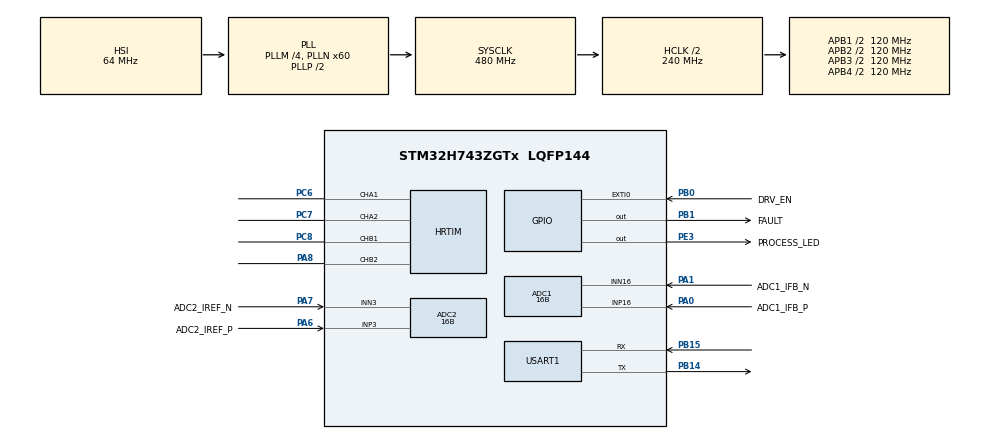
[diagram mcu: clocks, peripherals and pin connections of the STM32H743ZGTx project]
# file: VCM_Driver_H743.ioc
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ADC1.Channel-0\#ChannelRegularConversion=ADC_CHANNEL_16
ADC1.ClockPrescaler=ADC_CLOCK_ASYNC_DIV4
ADC1.ContinuousConvMode=DISABLE
ADC1.ConversionDataManagement=ADC_CONVERSIONDATA_DMA_CIRCULAR
ADC1.DiscontinuousConvMode=DISABLE
ADC1.EnableRegularConversion=ENABLE
ADC1.ExternalTrigConv=ADC_EXTERNALTRIG_HR1_ADCTRG1
ADC1.ExternalTrigConvEdge=ADC_EXTERNALTRIGCONVEDGE_RISING
ADC1.NbrOfConversion=1
ADC1.NbrOfConversionFlag=1
ADC1.OffsetNumber-0\#ChannelRegularConversion=ADC_OFFSET_NONE
ADC1.OffsetSignedSaturation-0\#ChannelRegularConversion=DISABLE
ADC1.Overrun=ADC_OVR_DATA_OVERWRITTEN
ADC1.Rank-0\#ChannelRegularConversion=1
ADC1.Resolution=ADC_RESOLUTION_16B
ADC1.SamplingTime-0\#ChannelRegularConversion=ADC_SAMPLETIME_16CYCLES_5
ADC1.ScanConvMode=ADC_SCAN_DISABLE
ADC1.SingleDiff-0\#ChannelRegularConversion=ADC_DIFFERENTIAL_ENDED
ADC1.master=1
ADC2.Channel-0\#ChannelRegularConversion=ADC_CHANNEL_3
ADC2.ClockPrescaler=ADC_CLOCK_ASYNC_DIV4
ADC2.ContinuousConvMode=DISABLE
ADC2.ConversionDataManagement=ADC_CONVERSIONDATA_DMA_CIRCULAR
ADC2.DiscontinuousConvMode=DISABLE
ADC2.EnableRegularConversion=ENABLE
ADC2.ExternalTrigConv=ADC_EXTERNALTRIG_HR1_ADCTRG1
ADC2.ExternalTrigConvEdge=ADC_EXTERNALTRIGCONVEDGE_RISING
ADC2.NbrOfConversion=1
ADC2.NbrOfConversionFlag=1
ADC2.OffsetNumber-0\#ChannelRegularConversion=ADC_OFFSET_NONE
ADC2.OffsetSignedSaturation-0\#ChannelRegularConversion=DISABLE
ADC2.Overrun=ADC_OVR_DATA_OVERWRITTEN
ADC2.Rank-0\#ChannelRegularConversion=1
ADC2.Resolution=ADC_RESOLUTION_16B
ADC2.SamplingTime-0\#ChannelRegularConversion=ADC_SAMPLETIME_16CYCLES_5
ADC2.ScanConvMode=ADC_SCAN_DISABLE
ADC2.SingleDiff-0\#ChannelRegularConversion=ADC_DIFFERENTIAL_ENDED
Dma.ADC1.0.Direction=DMA_PERIPH_TO_MEMORY
Dma.ADC1.0.EventEnable=DISABLE
Dma.ADC1.0.FIFOMode=DMA_FIFOMODE_DISABLE
Dma.ADC1.0.Instance=DMA1_Stream0
Dma.ADC1.0.MemDataAlignment=DMA_MDATAALIGN_HALFWORD
Dma.ADC1.0.MemInc=DMA_MINC_ENABLE
Dma.ADC1.0.Mode=DMA_CIRCULAR
Dma.ADC1.0.PeriphDataAlignment=DMA_PDATAALIGN_HALFWORD
Dma.ADC1.0.PeriphInc=DMA_PINC_DISABLE
Dma.ADC1.0.Polarity=HAL_DMAMUX_REQ_GEN_RISING
Dma.ADC1.0.Priority=DMA_PRIORITY_HIGH
Dma.ADC1.0.RequestNumber=1
Dma.ADC1.0.SignalID=NONE
Dma.ADC1.0.SyncEnable=DISABLE
Dma.ADC1.0.SyncPolarity=HAL_DMAMUX_SYNC_NO_EVENT
Dma.ADC1.0.SyncRequestNumber=1
Dma.ADC1.0.SyncSignalID=NONE
Dma.ADC2.1.Direction=DMA_PERIPH_TO_MEMORY
Dma.ADC2.1.EventEnable=DISABLE
Dma.ADC2.1.FIFOMode=DMA_FIFOMODE_DISABLE
Dma.ADC2.1.Instance=DMA1_Stream1
Dma.ADC2.1.MemDataAlignment=DMA_MDATAALIGN_HALFWORD
Dma.ADC2.1.MemInc=DMA_MINC_DISABLE
Dma.ADC2.1.Mode=DMA_CIRCULAR
Dma.ADC2.1.PeriphDataAlignment=DMA_PDATAALIGN_HALFWORD
Dma.ADC2.1.PeriphInc=DMA_PINC_DISABLE
Dma.ADC2.1.Polarity=HAL_DMAMUX_REQ_GEN_RISING
Dma.ADC2.1.Priority=DMA_PRIORITY_HIGH
Dma.ADC2.1.RequestNumber=1
Dma.ADC2.1.SignalID=NONE
Dma.ADC2.1.SyncEnable=DISABLE
Dma.ADC2.1.SyncPolarity=HAL_DMAMUX_SYNC_NO_EVENT
Dma.ADC2.1.SyncRequestNumber=1
Dma.ADC2.1.SyncSignalID=NONE
Dma.Request0=ADC1
Dma.Request1=ADC2
Mcu.Family=STM32H7
Mcu.Name=STM32H743ZGTx
Mcu.Package=LQFP144
NVIC.DMA1_Stream0_IRQn=true\:0\:0\:false\:false\:true\:false\:true\:true
NVIC.DMA1_Stream1_IRQn=true\:0\:0\:false\:false\:true\:false\:true\:true
NVIC.EXTI0_IRQn=true\:2\:0\:true\:false\:true\:true\:true\:true
NVIC.HRTIM1_TIMA_IRQn=true\:0\:0\:true\:false\:true\:true\:true\:true
NVIC.PriorityGroup=NVIC_PRIORITYGROUP_4
PA0.GPIO_Label=ADC1_IFB_P
PA0.Mode=IN16-Differential
PA0.Signal=ADC1_INP16
PA1.GPIO_Label=ADC1_IFB_N
PA1.Mode=IN16-Differential
PA1.Signal=ADC1_INN16
PA13\ (JTMS/SWDIO).Mode=Serial_Wire
PA13\ (JTMS/SWDIO).Signal=DEBUG_JTMS-SWDIO
PA14\ (JTCK/SWCLK).Mode=Serial_Wire
PA14\ (JTCK/SWCLK).Signal=DEBUG_JTCK-SWCLK
PA6.GPIO_Label=ADC2_IREF_P
PA6.Signal=ADCx_INP3
PA7.GPIO_Label=ADC2_IREF_N
PA7.Signal=ADCx_INN3
PA8.Mode=Output_TB1TB2
PA8.Signal=HRTIM_CHB2
PB0.GPIO_Label=DRV_EN
PB0.GPIO_ModeDefaultEXTI=GPIO_MODE_IT_FALLING
PB0.GPIO_PuPd=GPIO_NOPULL
PB0.Signal=GPXTI0
PB1.GPIO_Label=FAULT
PB1.Signal=GPIO_Output
PB14.Mode=Asynchronous
PB14.Signal=USART1_TX
PB15.Mode=Asynchronous
PB15.Signal=USART1_RX
PC6.Mode=Output_TA1TA2
PC6.Signal=HRTIM_CHA1
PC7.Mode=Output_TA1TA2
PC7.Signal=HRTIM_CHA2
PC8.Mode=Output_TB1TB2
PC8.Signal=HRTIM_CHB1
PE3.GPIO_Label=PROCESS_LED
PE3.Signal=GPIO_Output
PH0-OSC_IN\ (PH0).Mode=HSE-External-Oscillator
PH0-OSC_IN\ (PH0).Signal=RCC_OSC_IN
PH1-OSC_OUT\ (PH1).Mode=HSE-External-Oscillator
PH1-OSC_OUT\ (PH1).Signal=RCC_OSC_OUT
ProjectManager.HeapSize=0x400
ProjectManager.StackSize=0x800
ProjectManager.TargetToolchain=STM32CubeIDE
RCC.ADCFreq_Value=96000000
RCC.AHBFreq_Value=200000000
RCC.APB1Freq_Value=120000000
RCC.APB2Freq_Value=120000000
RCC.APB3Freq_Value=120000000
RCC.APB4Freq_Value=120000000
RCC.CortexFreq_Value=480000000
RCC.D1PPRE=RCC_APB3_DIV2
RCC.D2PPRE1=RCC_APB1_DIV2
RCC.D2PPRE2=RCC_APB2_DIV2
RCC.D3PPRE=RCC_APB4_DIV2
RCC.DIVM1=4
RCC.DIVM2=4
RCC.DIVN1=60
RCC.DIVN2=12
RCC.HCLKFreq_Value=240000000
RCC.HPRE=RCC_HCLK_DIV2
RCC.HRTIMCLockSelection=RCC_HRTIM1CLK_CPUCLK
RCC.HSE_VALUE=8000000
RCC.HSI_VALUE=64000000
RCC.PLL2FRACN=0
RCC.PLL3FRACN=0
RCC.PLLFRACN=0
RCC.SYSCLKFreq_VALUE=480000000
RCC.SYSCLKSource=RCC_SYSCLKSOURCE_PLLCLK
RCC.USART16CLockSelection=RCC_USART16CLKSOURCE_PLL2
RCC.USBFreq_Value=480000000
RCC.VCOOutputFreq_Value=800000000
SH.ADCx_INN3.0=ADC2_INN3,IN3-Differential
SH.ADCx_INP3.0=ADC2_INP3,IN3-Differential
USART1.VirtualMode-Asynchronous=VM_ASYNC
VP_MEMORYMAP_VS_MEMORYMAP.Mode=CurAppReg
board=custom

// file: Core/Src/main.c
/* USER CODE BEGIN Header */
/**
  ******************************************************************************
  * @file    main.c
  * @brief   VCM driver entry — STM32H743ZGT + HRTIM
  ******************************************************************************
  */
/* USER CODE END Header */
#include "main.h"

/* USER CODE BEGIN Includes */
#include "vcm_ctrl.h"
#include "iap_app.h"
#include "UID_Encryption.h"
/* USER CODE END Includes */

/* USER CODE BEGIN PM */
#define UID_ENCRYPTION
/* USER CODE END PM */

ADC_HandleTypeDef hadc1;
ADC_HandleTypeDef hadc2;
DMA_HandleTypeDef hdma_adc1;
DMA_HandleTypeDef hdma_adc2;

HRTIM_HandleTypeDef hhrtim;

UART_HandleTypeDef huart1;

/* USER CODE BEGIN PV */
const uint8_t custom_id[12] = CUSTOM_ID;
/* USER CODE END PV */

void SystemClock_Config(void);
void PeriphCommonClock_Config(void);
static void MX_GPIO_Init(void);
static void MX_DMA_Init(void);
static void MX_ADC1_Init(void);
static void MX_ADC2_Init(void);
static void MX_HRTIM_Init(void);
static void MX_USART1_UART_Init(void);

/* USER CODE BEGIN 0 */
static void ProcessLed_Service(void)
{
  static uint32_t led_tick = 0U;
  uint32_t now = HAL_GetTick();
  uint32_t period_ms;

  if (g_vcm.state == VCM_STATE_FAULT)
  {
    period_ms = 100U;
  }
  else if ((g_vcm.state == VCM_STATE_RUN) || (g_vcm.state == VCM_STATE_CALIB))
  {
    period_ms = 1000U;
  }
  else
  {
    period_ms = 2000U;
  }

  if ((now - led_tick) >= period_ms)
  {
    led_tick = now;
    HAL_GPIO_TogglePin(PROCESS_LED_GPIO_Port, PROCESS_LED_Pin);
  }
}
/* USER CODE END 0 */

int main(void)
{

  /* USER CODE BEGIN 1 */
  /*
   * Boot→App is not a POR: Boot may leave SysTick/NVIC/PLL running.
   * Without cleanup, HAL_RCC_OscConfig often fails → Error_Handler → LED stuck on.
   */
  __disable_irq();
  SCB->VTOR = IAP_APP_ADDRESS;
  SysTick->CTRL = 0U;
  SysTick->LOAD = 0U;
  SysTick->VAL  = 0U;
  for (uint32_t i = 0U; i < 8U; i++)
  {
    NVIC->ICER[i] = 0xFFFFFFFFu;
    NVIC->ICPR[i] = 0xFFFFFFFFu;
  }
  __DSB();
  __ISB();
  __enable_irq();
  /* USER CODE END 1 */

  /* MCU Configuration--------------------------------------------------------*/

  /* Reset of all peripherals, Initializes the Flash interface and the Systick. */
  HAL_Init();

  /* USER CODE BEGIN Init */
  /* Same as a typical H7 bootloader: keep I-cache on so Flash program
   * does not re-fetch Bank 1 after PG is set. Do not enable D-cache here —
   * ADC DMA buffers are not marked non-cacheable. */
  SCB_EnableICache();
  /* USER CODE END Init */

  /* Configure the system clock */
  /* USER CODE BEGIN SysInit */
  /* Drop Boot PLL/clock tree so SystemClock_Config can run cleanly */
  if (HAL_RCC_DeInit() != HAL_OK)
  {
    Error_Handler();
  }
  /* USER CODE END SysInit */
  SystemClock_Config();

  /* Configure the peripherals common clocks */
  PeriphCommonClock_Config();

  /* Initialize all configured peripherals */
  MX_GPIO_Init();
  MX_DMA_Init();
  MX_ADC1_Init();
  MX_ADC2_Init();
  MX_HRTIM_Init();
  MX_USART1_UART_Init();
  /* USER CODE BEGIN 2 */
  VCM_UartRxArm();
  VCM_BootAnnounce();
#ifdef UID_ENCRYPTION
	if(UID_Encryption_Key_Check((void*)KEY_BASE,
								(void*)UID_BASE,
								(void*)custom_id,
								LENGTH_12,
								LITTLE_ENDIA,
								ALGORITHM_4))
	{/* 验证不通过 */
		while(1) //LED快闪
		{
			HAL_GPIO_TogglePin(PROCESS_LED_GPIO_Port, PROCESS_LED_Pin);
			HAL_Delay(100);
			VCM_PollVersionQuery();
		}
	}
	else
	{/* 验证通过 */
		for(uint8_t i=0; i<10;i++)
		{
			HAL_GPIO_TogglePin(PROCESS_LED_GPIO_Port, PROCESS_LED_Pin);
			HAL_Delay(50);
			VCM_PollVersionQuery();
		}
		HAL_Delay(200);
		VCM_PollVersionQuery();
	}
  #endif

  if (HAL_ADCEx_Calibration_Start(&hadc1, ADC_CALIB_OFFSET, ADC_DIFFERENTIAL_ENDED) != HAL_OK)
  {
    Error_Handler();
  }
  if (HAL_ADCEx_Calibration_Start(&hadc2, ADC_CALIB_OFFSET, ADC_DIFFERENTIAL_ENDED) != HAL_OK)
  {
    Error_Handler();
  }

  /* Override Cube defaults: 50 kHz PWM + current loop */
  VCM_HRTIM_InitTimers();
  VCM_Init();
  if (VCM_AdcStart() != 0)
  {
    Error_Handler();
  }
  /* USER CODE END 2 */

  /* Infinite loop */
  while (1)
  {

    /* USER CODE BEGIN 3 */
    IAP_ServiceUartCommand();
    VCM_ServiceDrvEnable();
    VCM_ServiceFaultClear();
    ProcessLed_Service();
  }
  /* USER CODE END 3 */
}

void SystemClock_Config(void)
{
  RCC_OscInitTypeDef RCC_OscInitStruct = {0};
  RCC_ClkInitTypeDef RCC_ClkInitStruct = {0};

  /** Supply configuration update enable
  */
  HAL_PWREx_ConfigSupply(PWR_LDO_SUPPLY);

  /** Configure the main internal regulator output voltage
  */
  __HAL_PWR_VOLTAGESCALING_CONFIG(PWR_REGULATOR_VOLTAGE_SCALE0);

  while(!__HAL_PWR_GET_FLAG(PWR_FLAG_VOSRDY)) {}

  /** Initializes the RCC Oscillators according to the specified parameters
  * in the RCC_OscInitTypeDef structure.
  */
  RCC_OscInitStruct.OscillatorType = RCC_OSCILLATORTYPE_HSI;
  RCC_OscInitStruct.HSIState = RCC_HSI_DIV1;
  RCC_OscInitStruct.HSICalibrationValue = RCC_HSICALIBRATION_DEFAULT;
  RCC_OscInitStruct.PLL.PLLState = RCC_PLL_ON;
  RCC_OscInitStruct.PLL.PLLSource = RCC_PLLSOURCE_HSI;
  RCC_OscInitStruct.PLL.PLLM = 4;
  RCC_OscInitStruct.PLL.PLLN = 60;
  RCC_OscInitStruct.PLL.PLLP = 2;
  RCC_OscInitStruct.PLL.PLLQ = 2;
  RCC_OscInitStruct.PLL.PLLR = 2;
  RCC_OscInitStruct.PLL.PLLRGE = RCC_PLL1VCIRANGE_3;
  RCC_OscInitStruct.PLL.PLLVCOSEL = RCC_PLL1VCOWIDE;
  RCC_OscInitStruct.PLL.PLLFRACN = 0;
  if (HAL_RCC_OscConfig(&RCC_OscInitStruct) != HAL_OK)
  {
    Error_Handler();
  }

  /** Initializes the CPU, AHB and APB buses clocks
  */
  RCC_ClkInitStruct.ClockType = RCC_CLOCKTYPE_HCLK|RCC_CLOCKTYPE_SYSCLK
                              |RCC_CLOCKTYPE_PCLK1|RCC_CLOCKTYPE_PCLK2
                              |RCC_CLOCKTYPE_D3PCLK1|RCC_CLOCKTYPE_D1PCLK1;
  RCC_ClkInitStruct.SYSCLKSource = RCC_SYSCLKSOURCE_PLLCLK;
  RCC_ClkInitStruct.SYSCLKDivider = RCC_SYSCLK_DIV1;
  RCC_ClkInitStruct.AHBCLKDivider = RCC_HCLK_DIV2;
  RCC_ClkInitStruct.APB3CLKDivider = RCC_APB3_DIV2;
  RCC_ClkInitStruct.APB1CLKDivider = RCC_APB1_DIV2;
  RCC_ClkInitStruct.APB2CLKDivider = RCC_APB2_DIV2;
  RCC_ClkInitStruct.APB4CLKDivider = RCC_APB4_DIV2;

  if (HAL_RCC_ClockConfig(&RCC_ClkInitStruct, FLASH_LATENCY_4) != HAL_OK)
  {
    Error_Handler();
  }
}

void PeriphCommonClock_Config(void)
{
  RCC_PeriphCLKInitTypeDef PeriphClkInitStruct = {0};

  /** Initializes the peripherals clock
  */
  PeriphClkInitStruct.PeriphClockSelection = RCC_PERIPHCLK_ADC|RCC_PERIPHCLK_USART1;
  PeriphClkInitStruct.PLL2.PLL2M = 4;
  PeriphClkInitStruct.PLL2.PLL2N = 12;
  PeriphClkInitStruct.PLL2.PLL2P = 2;
  PeriphClkInitStruct.PLL2.PLL2Q = 2;
  PeriphClkInitStruct.PLL2.PLL2R = 2;
  PeriphClkInitStruct.PLL2.PLL2RGE = RCC_PLL2VCIRANGE_3;
  PeriphClkInitStruct.PLL2.PLL2VCOSEL = RCC_PLL2VCOWIDE;
  PeriphClkInitStruct.PLL2.PLL2FRACN = 0;
  PeriphClkInitStruct.Usart16ClockSelection = RCC_USART16CLKSOURCE_PLL2;
  PeriphClkInitStruct.AdcClockSelection = RCC_ADCCLKSOURCE_PLL2;
  if (HAL_RCCEx_PeriphCLKConfig(&PeriphClkInitStruct) != HAL_OK)
  {
    Error_Handler();
  }
}

static void MX_ADC1_Init(void)
{

  ADC_MultiModeTypeDef multimode = {0};
  ADC_ChannelConfTypeDef sConfig = {0};

  /** Common config
  */
  hadc1.Instance = ADC1;
  hadc1.Init.ClockPrescaler = ADC_CLOCK_ASYNC_DIV4;
  hadc1.Init.Resolution = ADC_RESOLUTION_16B;
  hadc1.Init.ScanConvMode = ADC_SCAN_DISABLE;
  hadc1.Init.EOCSelection = ADC_EOC_SINGLE_CONV;
  hadc1.Init.LowPowerAutoWait = DISABLE;
  hadc1.Init.ContinuousConvMode = DISABLE;
  hadc1.Init.NbrOfConversion = 1;
  hadc1.Init.DiscontinuousConvMode = DISABLE;
  hadc1.Init.ExternalTrigConv = ADC_EXTERNALTRIG_HR1_ADCTRG1;
  hadc1.Init.ExternalTrigConvEdge = ADC_EXTERNALTRIGCONVEDGE_RISING;
  hadc1.Init.ConversionDataManagement = ADC_CONVERSIONDATA_DMA_CIRCULAR;
  hadc1.Init.Overrun = ADC_OVR_DATA_OVERWRITTEN;
  hadc1.Init.LeftBitShift = ADC_LEFTBITSHIFT_NONE;
  hadc1.Init.OversamplingMode = DISABLE;
  hadc1.Init.Oversampling.Ratio = 1;
  if (HAL_ADC_Init(&hadc1) != HAL_OK)
  {
    Error_Handler();
  }

  /** Configure the ADC multi-mode
  */
  multimode.Mode = ADC_MODE_INDEPENDENT;
  if (HAL_ADCEx_MultiModeConfigChannel(&hadc1, &multimode) != HAL_OK)
  {
    Error_Handler();
  }

  /** Configure Regular Channel
  */
  sConfig.Channel = ADC_CHANNEL_16;
  sConfig.Rank = ADC_REGULAR_RANK_1;
  sConfig.SamplingTime = ADC_SAMPLETIME_16CYCLES_5;
  sConfig.SingleDiff = ADC_DIFFERENTIAL_ENDED;
  sConfig.OffsetNumber = ADC_OFFSET_NONE;
  sConfig.Offset = 0;
  sConfig.OffsetSignedSaturation = DISABLE;
  if (HAL_ADC_ConfigChannel(&hadc1, &sConfig) != HAL_OK)
  {
    Error_Handler();
  }
  /* USER CODE BEGIN ADC1_Init 2 */
  /* Keep in sync with VCM_Driver_H743.ioc (HRTIM ADCTRG1 + DMA circular).
   * Re-apply after Cube regen if generated block regresses to software start. */
  hadc1.Init.ExternalTrigConv = ADC_EXTERNALTRIG_HR1_ADCTRG1;
  hadc1.Init.ExternalTrigConvEdge = ADC_EXTERNALTRIGCONVEDGE_RISING;
  hadc1.Init.ConversionDataManagement = ADC_CONVERSIONDATA_DMA_CIRCULAR;
  hadc1.Init.Overrun = ADC_OVR_DATA_OVERWRITTEN;
  if (HAL_ADC_Init(&hadc1) != HAL_OK)
  {
    Error_Handler();
  }
  sConfig.Channel = ADC_CHANNEL_16;
  sConfig.Rank = ADC_REGULAR_RANK_1;
  sConfig.SamplingTime = ADC_SAMPLETIME_16CYCLES_5;
  sConfig.SingleDiff = ADC_DIFFERENTIAL_ENDED;
  sConfig.OffsetNumber = ADC_OFFSET_NONE;
  sConfig.Offset = 0;
  sConfig.OffsetSignedSaturation = DISABLE;
  if (HAL_ADC_ConfigChannel(&hadc1, &sConfig) != HAL_OK)
  {
    Error_Handler();
  }
  /* USER CODE END ADC1_Init 2 */

}

static void MX_ADC2_Init(void)
{

  ADC_ChannelConfTypeDef sConfig = {0};

  /** Common config
  */
  hadc2.Instance = ADC2;
  hadc2.Init.ClockPrescaler = ADC_CLOCK_ASYNC_DIV4;
  hadc2.Init.Resolution = ADC_RESOLUTION_16B;
  hadc2.Init.ScanConvMode = ADC_SCAN_DISABLE;
  hadc2.Init.EOCSelection = ADC_EOC_SINGLE_CONV;
  hadc2.Init.LowPowerAutoWait = DISABLE;
  hadc2.Init.ContinuousConvMode = DISABLE;
  hadc2.Init.NbrOfConversion = 1;
  hadc2.Init.DiscontinuousConvMode = DISABLE;
  hadc2.Init.ExternalTrigConv = ADC_EXTERNALTRIG_HR1_ADCTRG1;
  hadc2.Init.ExternalTrigConvEdge = ADC_EXTERNALTRIGCONVEDGE_RISING;
  hadc2.Init.ConversionDataManagement = ADC_CONVERSIONDATA_DMA_CIRCULAR;
  hadc2.Init.Overrun = ADC_OVR_DATA_OVERWRITTEN;
  hadc2.Init.LeftBitShift = ADC_LEFTBITSHIFT_NONE;
  hadc2.Init.OversamplingMode = DISABLE;
  hadc2.Init.Oversampling.Ratio = 1;
  if (HAL_ADC_Init(&hadc2) != HAL_OK)
  {
    Error_Handler();
  }

  /** Configure Regular Channel
  */
  sConfig.Channel = ADC_CHANNEL_3;
  sConfig.Rank = ADC_REGULAR_RANK_1;
  sConfig.SamplingTime = ADC_SAMPLETIME_16CYCLES_5;
  sConfig.SingleDiff = ADC_DIFFERENTIAL_ENDED;
  sConfig.OffsetNumber = ADC_OFFSET_NONE;
  sConfig.Offset = 0;
  sConfig.OffsetSignedSaturation = DISABLE;
  if (HAL_ADC_ConfigChannel(&hadc2, &sConfig) != HAL_OK)
  {
    Error_Handler();
  }
  /* USER CODE BEGIN ADC2_Init 2 */
  /* Keep in sync with VCM_Driver_H743.ioc (HRTIM ADCTRG1 + DMA circular). */
  hadc2.Init.ExternalTrigConv = ADC_EXTERNALTRIG_HR1_ADCTRG1;
  hadc2.Init.ExternalTrigConvEdge = ADC_EXTERNALTRIGCONVEDGE_RISING;
  hadc2.Init.ConversionDataManagement = ADC_CONVERSIONDATA_DMA_CIRCULAR;
  hadc2.Init.Overrun = ADC_OVR_DATA_OVERWRITTEN;
  if (HAL_ADC_Init(&hadc2) != HAL_OK)
  {
    Error_Handler();
  }
  sConfig.Channel = ADC_CHANNEL_3;
  sConfig.Rank = ADC_REGULAR_RANK_1;
  sConfig.SamplingTime = ADC_SAMPLETIME_16CYCLES_5;
  sConfig.SingleDiff = ADC_DIFFERENTIAL_ENDED;
  sConfig.OffsetNumber = ADC_OFFSET_NONE;
  sConfig.Offset = 0;
  sConfig.OffsetSignedSaturation = DISABLE;
  if (HAL_ADC_ConfigChannel(&hadc2, &sConfig) != HAL_OK)
  {
    Error_Handler();
  }
  /* USER CODE END ADC2_Init 2 */

}

static void MX_HRTIM_Init(void)
{

  HRTIM_TimeBaseCfgTypeDef pTimeBaseCfg = {0};
  HRTIM_TimerCfgTypeDef pTimerCfg = {0};
  HRTIM_OutputCfgTypeDef pOutputCfg = {0};

  hhrtim.Instance = HRTIM1;
  hhrtim.Init.HRTIMInterruptResquests = HRTIM_IT_NONE;
  hhrtim.Init.SyncOptions = HRTIM_SYNCOPTION_NONE;
  if (HAL_HRTIM_Init(&hhrtim) != HAL_OK)
  {
    Error_Handler();
  }
  pTimeBaseCfg.Period = 0xFFFD;
  pTimeBaseCfg.RepetitionCounter = 0x00;
  pTimeBaseCfg.PrescalerRatio = HRTIM_PRESCALERRATIO_DIV1;
  pTimeBaseCfg.Mode = HRTIM_MODE_CONTINUOUS;
  if (HAL_HRTIM_TimeBaseConfig(&hhrtim, HRTIM_TIMERINDEX_TIMER_A, &pTimeBaseCfg) != HAL_OK)
  {
    Error_Handler();
  }
  pTimerCfg.InterruptRequests = HRTIM_TIM_IT_NONE;
  pTimerCfg.DMARequests = HRTIM_TIM_DMA_NONE;
  pTimerCfg.DMASrcAddress = 0x0000;
  pTimerCfg.DMADstAddress = 0x0000;
  pTimerCfg.DMASize = 0x1;
  pTimerCfg.HalfModeEnable = HRTIM_HALFMODE_DISABLED;
  pTimerCfg.StartOnSync = HRTIM_SYNCSTART_DISABLED;
  pTimerCfg.ResetOnSync = HRTIM_SYNCRESET_DISABLED;
  pTimerCfg.DACSynchro = HRTIM_DACSYNC_NONE;
  pTimerCfg.PreloadEnable = HRTIM_PRELOAD_DISABLED;
  pTimerCfg.UpdateGating = HRTIM_UPDATEGATING_INDEPENDENT;
  pTimerCfg.BurstMode = HRTIM_TIMERBURSTMODE_MAINTAINCLOCK;
  pTimerCfg.RepetitionUpdate = HRTIM_UPDATEONREPETITION_DISABLED;
  pTimerCfg.PushPull = HRTIM_TIMPUSHPULLMODE_DISABLED;
  pTimerCfg.FaultEnable = HRTIM_TIMFAULTENABLE_NONE;
  pTimerCfg.FaultLock = HRTIM_TIMFAULTLOCK_READWRITE;
  pTimerCfg.DeadTimeInsertion = HRTIM_TIMDEADTIMEINSERTION_DISABLED;
  pTimerCfg.DelayedProtectionMode = HRTIM_TIMER_A_B_C_DELAYEDPROTECTION_DISABLED;
  pTimerCfg.UpdateTrigger = HRTIM_TIMUPDATETRIGGER_NONE;
  pTimerCfg.ResetTrigger = HRTIM_TIMRESETTRIGGER_NONE;
  pTimerCfg.ResetUpdate = HRTIM_TIMUPDATEONRESET_DISABLED;
  if (HAL_HRTIM_WaveformTimerConfig(&hhrtim, HRTIM_TIMERINDEX_TIMER_A, &pTimerCfg) != HAL_OK)
  {
    Error_Handler();
  }
  if (HAL_HRTIM_WaveformTimerConfig(&hhrtim, HRTIM_TIMERINDEX_TIMER_B, &pTimerCfg) != HAL_OK)
  {
    Error_Handler();
  }
  pOutputCfg.Polarity = HRTIM_OUTPUTPOLARITY_HIGH;
  pOutputCfg.SetSource = HRTIM_OUTPUTSET_NONE;
  pOutputCfg.ResetSource = HRTIM_OUTPUTRESET_NONE;
  pOutputCfg.IdleMode = HRTIM_OUTPUTIDLEMODE_NONE;
  pOutputCfg.IdleLevel = HRTIM_OUTPUTIDLELEVEL_INACTIVE;
  pOutputCfg.FaultLevel = HRTIM_OUTPUTFAULTLEVEL_NONE;
  pOutputCfg.ChopperModeEnable = HRTIM_OUTPUTCHOPPERMODE_DISABLED;
  pOutputCfg.BurstModeEntryDelayed = HRTIM_OUTPUTBURSTMODEENTRY_REGULAR;
  if (HAL_HRTIM_WaveformOutputConfig(&hhrtim, HRTIM_TIMERINDEX_TIMER_A, HRTIM_OUTPUT_TA1, &pOutputCfg) != HAL_OK)
  {
    Error_Handler();
  }
  if (HAL_HRTIM_WaveformOutputConfig(&hhrtim, HRTIM_TIMERINDEX_TIMER_B, HRTIM_OUTPUT_TB1, &pOutputCfg) != HAL_OK)
  {
    Error_Handler();
  }
  if (HAL_HRTIM_WaveformOutputConfig(&hhrtim, HRTIM_TIMERINDEX_TIMER_A, HRTIM_OUTPUT_TA2, &pOutputCfg) != HAL_OK)
  {
    Error_Handler();
  }
  if (HAL_HRTIM_WaveformOutputConfig(&hhrtim, HRTIM_TIMERINDEX_TIMER_B, HRTIM_OUTPUT_TB2, &pOutputCfg) != HAL_OK)
  {
    Error_Handler();
  }
  if (HAL_HRTIM_TimeBaseConfig(&hhrtim, HRTIM_TIMERINDEX_TIMER_B, &pTimeBaseCfg) != HAL_OK)
  {
    Error_Handler();
  }
  /* USER CODE BEGIN HRTIM_Init 2 */
  /* Real 50 kHz / dead-time applied by VCM_HRTIM_InitTimers() after this. */
  /* USER CODE END HRTIM_Init 2 */
  HAL_HRTIM_MspPostInit(&hhrtim);

}

static void MX_USART1_UART_Init(void)
{

  huart1.Instance = USART1;
  huart1.Init.BaudRate = 115200;
  huart1.Init.WordLength = UART_WORDLENGTH_8B;
  huart1.Init.StopBits = UART_STOPBITS_1;
  huart1.Init.Parity = UART_PARITY_NONE;
  huart1.Init.Mode = UART_MODE_TX_RX;
  huart1.Init.HwFlowCtl = UART_HWCONTROL_NONE;
  huart1.Init.OverSampling = UART_OVERSAMPLING_16;
  huart1.Init.OneBitSampling = UART_ONE_BIT_SAMPLE_DISABLE;
  huart1.Init.ClockPrescaler = UART_PRESCALER_DIV1;
  huart1.AdvancedInit.AdvFeatureInit = UART_ADVFEATURE_NO_INIT;
  if (HAL_UART_Init(&huart1) != HAL_OK)
  {
    Error_Handler();
  }
  if (HAL_UARTEx_SetTxFifoThreshold(&huart1, UART_TXFIFO_THRESHOLD_1_8) != HAL_OK)
  {
    Error_Handler();
  }
  if (HAL_UARTEx_SetRxFifoThreshold(&huart1, UART_RXFIFO_THRESHOLD_1_8) != HAL_OK)
  {
    Error_Handler();
  }
  if (HAL_UARTEx_DisableFifoMode(&huart1) != HAL_OK)
  {
    Error_Handler();
  }

}

static void MX_DMA_Init(void)
{

  /* DMA controller clock enable */
  __HAL_RCC_DMA1_CLK_ENABLE();

  /* DMA interrupt init */
  /* DMA1_Stream0_IRQn interrupt configuration */
  HAL_NVIC_SetPriority(DMA1_Stream0_IRQn, 0, 0);
  HAL_NVIC_EnableIRQ(DMA1_Stream0_IRQn);
  /* DMA1_Stream1_IRQn interrupt configuration */
  HAL_NVIC_SetPriority(DMA1_Stream1_IRQn, 0, 0);
  HAL_NVIC_EnableIRQ(DMA1_Stream1_IRQn);

}

static void MX_GPIO_Init(void)
{
  GPIO_InitTypeDef GPIO_InitStruct = {0};

  /* GPIO Ports Clock Enable */
  __HAL_RCC_GPIOE_CLK_ENABLE();
  __HAL_RCC_GPIOH_CLK_ENABLE();
  __HAL_RCC_GPIOA_CLK_ENABLE();
  __HAL_RCC_GPIOB_CLK_ENABLE();
  __HAL_RCC_GPIOC_CLK_ENABLE();

  /*Configure GPIO pin Output Level */
  HAL_GPIO_WritePin(PROCESS_LED_GPIO_Port, PROCESS_LED_Pin, GPIO_PIN_RESET);

  /*Configure GPIO pin Output Level */
  HAL_GPIO_WritePin(FAULT_GPIO_Port, FAULT_Pin, GPIO_PIN_RESET);

  /*Configure GPIO pin : PROCESS_LED_Pin */
  GPIO_InitStruct.Pin = PROCESS_LED_Pin;
  GPIO_InitStruct.Mode = GPIO_MODE_OUTPUT_PP;
  GPIO_InitStruct.Pull = GPIO_NOPULL;
  GPIO_InitStruct.Speed = GPIO_SPEED_FREQ_LOW;
  HAL_GPIO_Init(PROCESS_LED_GPIO_Port, &GPIO_InitStruct);

  /*Configure GPIO pin : DRV_EN_Pin */
  GPIO_InitStruct.Pin = DRV_EN_Pin;
  GPIO_InitStruct.Mode = GPIO_MODE_IT_FALLING;
  GPIO_InitStruct.Pull = GPIO_NOPULL;
  HAL_GPIO_Init(DRV_EN_GPIO_Port, &GPIO_InitStruct);

  /*Configure GPIO pin : FAULT_Pin */
  GPIO_InitStruct.Pin = FAULT_Pin;
  GPIO_InitStruct.Mode = GPIO_MODE_OUTPUT_PP;
  GPIO_InitStruct.Pull = GPIO_NOPULL;
  GPIO_InitStruct.Speed = GPIO_SPEED_FREQ_LOW;
  HAL_GPIO_Init(FAULT_GPIO_Port, &GPIO_InitStruct);

  /* EXTI interrupt init*/
  HAL_NVIC_SetPriority(DRV_EN_EXTI_IRQn, 2, 0);
  HAL_NVIC_EnableIRQ(DRV_EN_EXTI_IRQn);

  /* USER CODE BEGIN MX_GPIO_Init_2 */
  /* DRV_EN: internal NOPULL — board has an external pull-up. */
  /* USER CODE END MX_GPIO_Init_2 */
}

void Error_Handler(void)
{
  __disable_irq();
  while (1)
  {
  }
}
